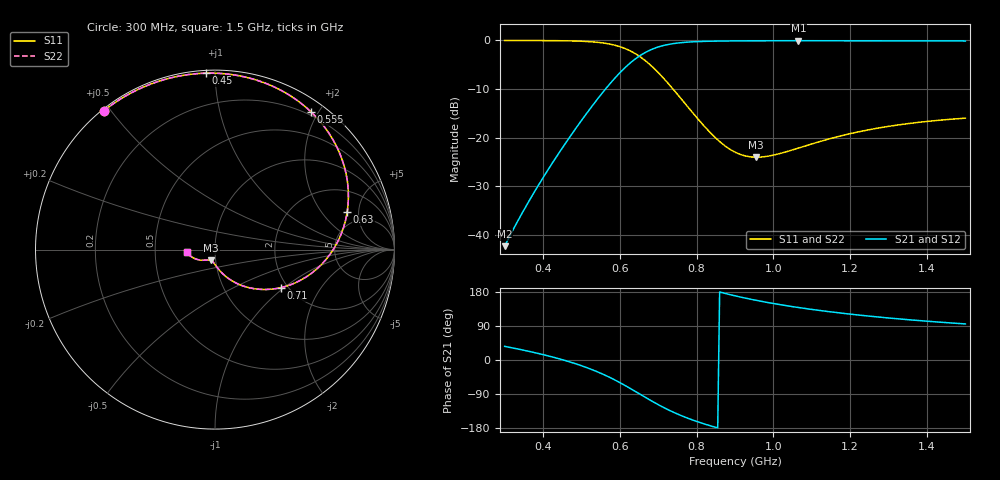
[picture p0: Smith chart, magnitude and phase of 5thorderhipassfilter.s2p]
! https://github.com/szoftveres
# Hz S RI R 50
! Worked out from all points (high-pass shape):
!   241 points, 300 MHz to 1.5 GHz, reference 50 ohm
!   highest |S21| = -0.13 dB at 1.065 GHz (marker M1); lowest = -42.3 dB at 300 MHz (marker M2)
!   |S21| within 3 dB of the highest: 653.7 MHz to end of sweep
!   lowest |S11| = -24.0 dB at 955 MHz (marker M3), VSWR 1.13, Z = 47.6 - j5.65 ohm
!   |S11| at or under -10 dB: 738.1 MHz to end of sweep
!   |S22| runs from -24.0 to -0.1 dB; largest |S21 - S12| = 0
!   S11 on the Smith chart (normalised r, x): 300 MHz: 0.01, +0.48; 450 MHz: 0.01, +0.95; 555 MHz: 0.15, +1.90; 630 MHz: 3.69, +3.69; 710 MHz: 1.83, -0.95; 1.5 GHz: 0.73, -0.02
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3e8  -0.6187 0.774  0.00622 0.00452  0.00622 0.00452  -0.6187 0.774
3.8e8  -0.3594 0.9217  0.0272 0.00938  0.0272 0.00938  -0.3594 0.9217
4.5e8  -0.052 0.983  0.0779 0.00124  0.0779 0.00124  -0.052 0.983
5e8  0.2177 0.9484  0.1444 -0.0388  0.1444 -0.0388  0.2177 0.9484
5.3e8  0.3927 0.8736  0.1936 -0.0958  0.1936 -0.0958  0.3927 0.8736
5.55e8  0.5344 0.7678  0.2306 -0.1738  0.2306 -0.1738  0.5344 0.7678
5.95e8  0.7075 0.5039  0.2407 -0.3682  0.2407 -0.3682  0.7075 0.5039
6.3e8  0.7363 0.2074  0.1369 -0.5791  0.1369 -0.5791  0.7363 0.2074
6.65e8  0.6189 -0.0546  -0.0988 -0.7345  -0.0988 -0.7345  0.6189 -0.0546
6.8e8  0.5377 -0.1318  -0.2252 -0.7604  -0.2252 -0.7604  0.5377 -0.1318
7e8  0.4214 -0.1957  -0.396 -0.7514  -0.396 -0.7514  0.4214 -0.1957
7.1e8  0.365 -0.2123  -0.4769 -0.73  -0.4769 -0.73  0.365 -0.2123
7.5e8  0.1821 -0.2104  -0.7394 -0.5675  -0.7394 -0.5675  0.1821 -0.2104
7.9e8  0.0766 -0.1621  -0.8932 -0.3515  -0.8932 -0.3515  0.0766 -0.1621
8.4e8  0.0176 -0.1064  -0.9703 -0.0874  -0.9703 -0.0874  0.0176 -0.1064
9e8  -0.00825 -0.0704  -0.9639 0.1808  -0.9639 0.1808  -0.00825 -0.0704
9.55e8  -0.0213 -0.0592  -0.9081 0.3769  -0.9081 0.3769  -0.0213 -0.0592
1.065e9  -0.051 -0.059  -0.7373 0.6526  -0.7373 0.6526  -0.051 -0.059
1.1e9  -0.0621 -0.0595  -0.6772 0.7147  -0.6772 0.7147  -0.0621 -0.0595
1.195e9  -0.0926 -0.0566  -0.5152 0.8378  -0.5152 0.8378  -0.0926 -0.0566
1.3e9  -0.1221 -0.0455  -0.3497 0.9176  -0.3497 0.9176  -0.1221 -0.0455
1.5e9  -0.1576 -0.0126  -0.0882 0.9752  -0.0882 0.9752  -0.1576 -0.0126
